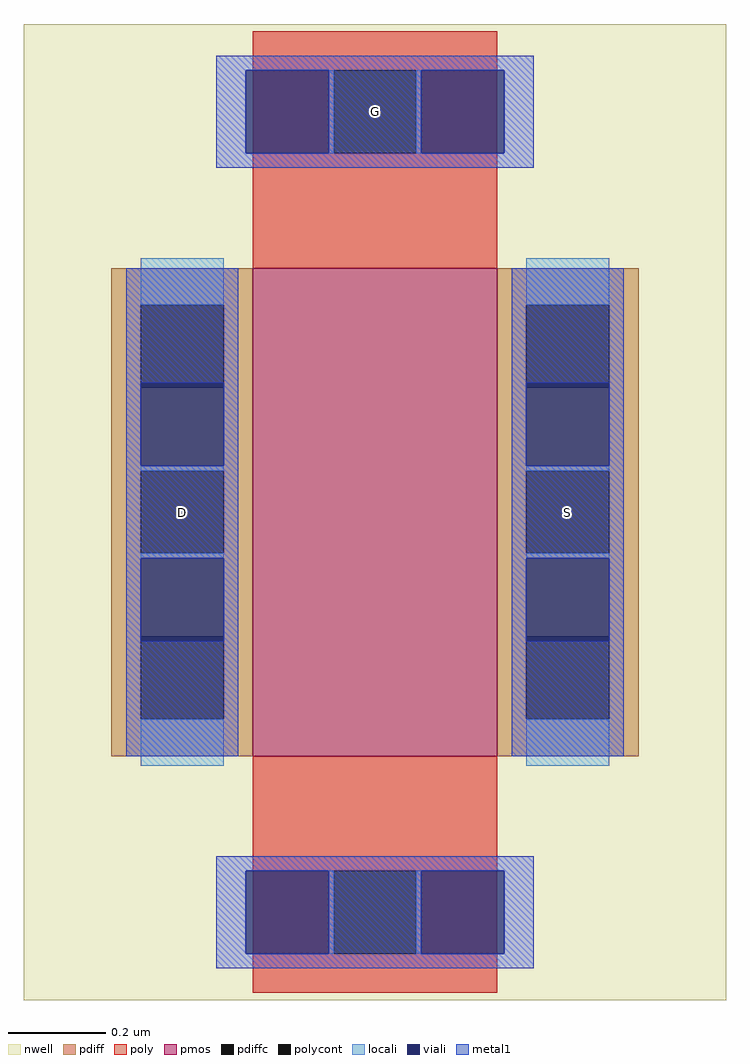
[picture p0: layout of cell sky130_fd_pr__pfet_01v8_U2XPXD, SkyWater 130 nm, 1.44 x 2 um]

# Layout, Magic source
magic
tech sky130B
magscale 1 2
<< nwell >>
rect -144 -200 144 200
<< pmos >>
rect -50 -100 50 100
<< pdiff >>
rect -108 85 -50 100
rect -108 51 -96 85
rect -62 51 -50 85
rect -108 17 -50 51
rect -108 -17 -96 17
rect -62 -17 -50 17
rect -108 -51 -50 -17
rect -108 -85 -96 -51
rect -62 -85 -50 -51
rect -108 -100 -50 -85
rect 50 85 108 100
rect 50 51 62 85
rect 96 51 108 85
rect 50 17 108 51
rect 50 -17 62 17
rect 96 -17 108 17
rect 50 -51 108 -17
rect 50 -85 62 -51
rect 96 -85 108 -51
rect 50 -100 108 -85
<< pdiffc >>
rect -96 51 -62 85
rect -96 -17 -62 17
rect -96 -85 -62 -51
rect 62 51 96 85
rect 62 -17 96 17
rect 62 -85 96 -51
<< poly >>
rect -50 181 50 197
rect -50 147 -17 181
rect 17 147 50 181
rect -50 100 50 147
rect -50 -147 50 -100
rect -50 -181 -17 -147
rect 17 -181 50 -147
rect -50 -197 50 -181
<< polycont >>
rect -17 147 17 181
rect -17 -181 17 -147
<< locali >>
rect -19 147 -17 181
rect 17 147 19 181
rect -96 85 -62 104
rect -96 17 -62 19
rect -96 -19 -62 -17
rect -96 -104 -62 -85
rect 62 85 96 104
rect 62 17 96 19
rect 62 -19 96 -17
rect 62 -104 96 -85
rect -19 -181 -17 -147
rect 17 -181 19 -147
<< viali >>
rect -53 147 -19 181
rect 19 147 53 181
rect -96 51 -62 53
rect -96 19 -62 51
rect -96 -51 -62 -19
rect -96 -53 -62 -51
rect 62 51 96 53
rect 62 19 96 51
rect 62 -51 96 -19
rect 62 -53 96 -51
rect -53 -181 -19 -147
rect 19 -181 53 -147
<< metal1 >>
rect -65 181 65 187
rect -65 147 -53 181
rect -19 147 19 181
rect 53 147 65 181
rect -65 141 65 147
rect -102 53 -56 100
rect -102 19 -96 53
rect -62 19 -56 53
rect -102 -19 -56 19
rect -102 -53 -96 -19
rect -62 -53 -56 -19
rect -102 -100 -56 -53
rect 56 53 102 100
rect 56 19 62 53
rect 96 19 102 53
rect 56 -19 102 19
rect 56 -53 62 -19
rect 96 -53 102 -19
rect 56 -100 102 -53
rect -65 -147 65 -141
rect -65 -181 -53 -147
rect -19 -181 19 -147
rect 53 -181 65 -147
rect -65 -187 65 -181
<< labels >>
rlabel locali s 0 164 0 164 4 G
rlabel locali s 79 0 79 0 4 S
rlabel locali s -79 0 -79 0 4 D
<< end >>
